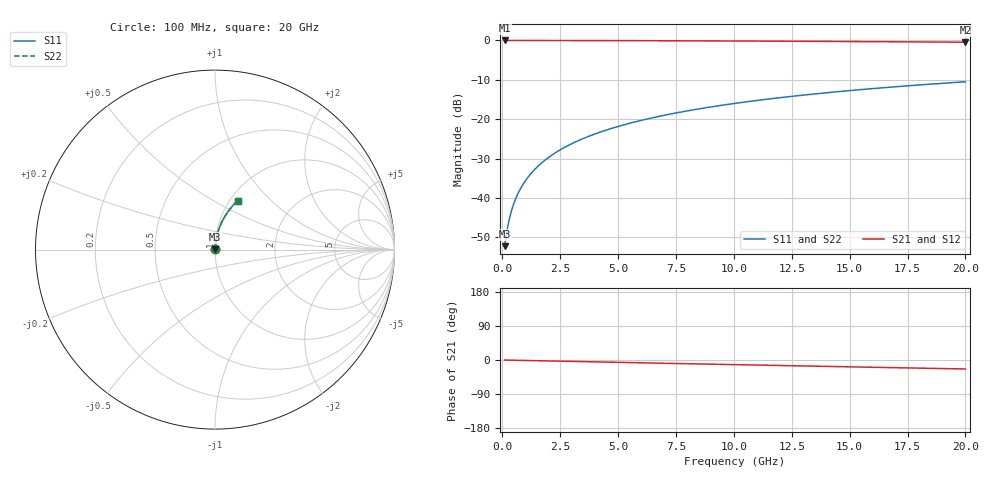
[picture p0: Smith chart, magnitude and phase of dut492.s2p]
! Touchstone file exported from HFSS 2026.1.0
!  File:  C:/ffzhzh/LocalFiles/Ansys_Project_Files/temp_train_TMRDL_492_1783006590_53980.aedt
!  Generated:  11:37:53 PM Jul  2, 2026
!  Design:  TMRDL
!  Project:  temp_train_TMRDL_492_1783006590_53980
! Variables:
!  h_bsmrdl = 2um
!  h_ox = 20um
!  h_rdl = 5um
!  h_sub = 80um
!  h_tmrdl = 3.85um
!  h_tsv = 80um
!  h_via = 3um
!  l_bsmrdl = 300um
!  l_sub = 649.55um
!  l_tmrdl = 249.55um
!  m_sub = 200um
!  pitch = 58.25um
!  r_tsv = 6um
!  s_tmrdl = 10um
!  w_bsmrdl = 18um
!  w_sub = 500um
!  w_tmrdl = 14.19um
!  x_tsv_center1 = 256.645um
!  x_tsv_center2 = 574.645um
!  x_tsv_center3 = 838.385um
!  x_tsv_center4 = 1156.385um
!  x_tsv_center5 = 1420.125um
!  x_tsv_center6 = 1738.125um
# GHz S MA R 50.000000
! Terminal data exported
! Port[1] = TM_RDL1_1_T1
! Port[2] = TM_RDL1_1_T2
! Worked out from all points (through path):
!   200 points, 100 MHz to 20 GHz, reference 50 ohm
!   highest |S21| = -0.02 dB at 100 MHz (marker M1); lowest = -0.5 dB at 20 GHz (marker M2)
!   group delay of S21, straight-line fit = 3.29 ps
!   lowest |S11| = -52.3 dB at 100 MHz (marker M3), VSWR 1.00, Z = 50.2 + j0.169 ohm
!   |S11| at or under -10 dB: start of sweep to end of sweep
!   |S22| runs from -52.3 to -10.5 dB; largest |S21 - S12| = 3.1e-15
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0.1  0.00244 43.7  0.9982 -0.1  0.9982 -0.1  0.00244 43.7
! Gamma 0 0 0 0
! Port Impedance 50 0 50 0
0.2  0.003814 61.7  0.9982 -0.3  0.9982 -0.3  0.003814 61.7
0.3  0.005351 69.6  0.9982 -0.4  0.9982 -0.4  0.005351 69.6
0.4  0.00693 73.8  0.9981 -0.5  0.9981 -0.5  0.00693 73.8
0.5  0.008523 76.4  0.9981 -0.6  0.9981 -0.6  0.008523 76.4
0.6  0.01012 78.2  0.998 -0.8  0.998 -0.8  0.01012 78.2
0.8  0.01333 80.4  0.9979 -1.0  0.9979 -1.0  0.01333 80.4
1.1  0.01816 82.1  0.9978 -1.4  0.9978 -1.4  0.01816 82.1
1.5  0.02462 83.2  0.9976 -1.9  0.9976 -1.9  0.02462 83.2
1.8  0.02948 83.5  0.9974 -2.3  0.9974 -2.3  0.02947 83.5
2.1  0.03432 83.6  0.9972 -2.6  0.9972 -2.6  0.03432 83.7
2.7  0.04401 83.6  0.9967 -3.4  0.9967 -3.4  0.04401 83.6
3.5  0.05687 83.1  0.9958 -4.4  0.9958 -4.4  0.05687 83.1
4.2  0.06807 82.5  0.9949 -5.2  0.9949 -5.2  0.06807 82.5
5  0.08077 81.7  0.9937 -6.2  0.9937 -6.2  0.08077 81.7
5.9  0.09495 80.7  0.9922 -7.3  0.9922 -7.3  0.09495 80.7
6.8  0.109 79.7  0.9905 -8.4  0.9905 -8.4  0.109 79.7
8.3  0.1321 78.0  0.9872 -10.2  0.9872 -10.2  0.1321 78.1
10.1  0.1594 76.0  0.9827 -12.3  0.9827 -12.3  0.1594 76.0
13.4  0.2078 72.3  0.9729 -16.2  0.9729 -16.2  0.2078 72.3
16.7  0.2542 68.7  0.9613 -20.0  0.9613 -20.0  0.2542 68.7
20  0.2982 65.1  0.9482 -23.7  0.9482 -23.7  0.2982 65.1
